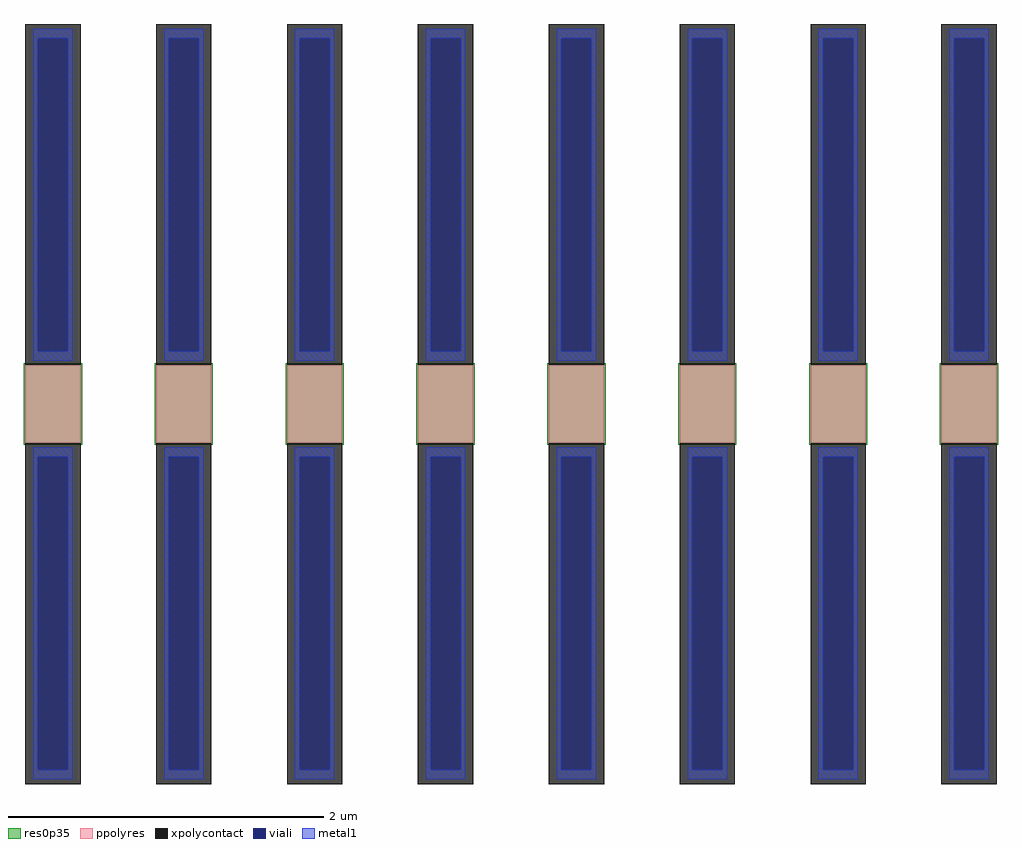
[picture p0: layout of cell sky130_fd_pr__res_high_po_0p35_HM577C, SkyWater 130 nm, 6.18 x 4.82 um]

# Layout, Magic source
magic
tech sky130A
magscale 1 2
<< xpolycontact >>
rect -616 50 -546 482
rect -616 -482 -546 -50
rect -450 50 -380 482
rect -450 -482 -380 -50
rect -284 50 -214 482
rect -284 -482 -214 -50
rect -118 50 -48 482
rect -118 -482 -48 -50
rect 48 50 118 482
rect 48 -482 118 -50
rect 214 50 284 482
rect 214 -482 284 -50
rect 380 50 450 482
rect 380 -482 450 -50
rect 546 50 616 482
rect 546 -482 616 -50
<< ppolyres >>
rect -616 -50 -546 50
rect -450 -50 -380 50
rect -284 -50 -214 50
rect -118 -50 -48 50
rect 48 -50 118 50
rect 214 -50 284 50
rect 380 -50 450 50
rect 546 -50 616 50
<< viali >>
rect -600 67 -562 464
rect -434 67 -396 464
rect -268 67 -230 464
rect -102 67 -64 464
rect 64 67 102 464
rect 230 67 268 464
rect 396 67 434 464
rect 562 67 600 464
rect -600 -464 -562 -67
rect -434 -464 -396 -67
rect -268 -464 -230 -67
rect -102 -464 -64 -67
rect 64 -464 102 -67
rect 230 -464 268 -67
rect 396 -464 434 -67
rect 562 -464 600 -67
<< metal1 >>
rect -606 464 -556 476
rect -606 67 -600 464
rect -562 67 -556 464
rect -606 55 -556 67
rect -440 464 -390 476
rect -440 67 -434 464
rect -396 67 -390 464
rect -440 55 -390 67
rect -274 464 -224 476
rect -274 67 -268 464
rect -230 67 -224 464
rect -274 55 -224 67
rect -108 464 -58 476
rect -108 67 -102 464
rect -64 67 -58 464
rect -108 55 -58 67
rect 58 464 108 476
rect 58 67 64 464
rect 102 67 108 464
rect 58 55 108 67
rect 224 464 274 476
rect 224 67 230 464
rect 268 67 274 464
rect 224 55 274 67
rect 390 464 440 476
rect 390 67 396 464
rect 434 67 440 464
rect 390 55 440 67
rect 556 464 606 476
rect 556 67 562 464
rect 600 67 606 464
rect 556 55 606 67
rect -606 -67 -556 -55
rect -606 -464 -600 -67
rect -562 -464 -556 -67
rect -606 -476 -556 -464
rect -440 -67 -390 -55
rect -440 -464 -434 -67
rect -396 -464 -390 -67
rect -440 -476 -390 -464
rect -274 -67 -224 -55
rect -274 -464 -268 -67
rect -230 -464 -224 -67
rect -274 -476 -224 -464
rect -108 -67 -58 -55
rect -108 -464 -102 -67
rect -64 -464 -58 -67
rect -108 -476 -58 -464
rect 58 -67 108 -55
rect 58 -464 64 -67
rect 102 -464 108 -67
rect 58 -476 108 -464
rect 224 -67 274 -55
rect 224 -464 230 -67
rect 268 -464 274 -67
rect 224 -476 274 -464
rect 390 -67 440 -55
rect 390 -464 396 -67
rect 434 -464 440 -67
rect 390 -476 440 -464
rect 556 -67 606 -55
rect 556 -464 562 -67
rect 600 -464 606 -67
rect 556 -476 606 -464
<< res0p35 >>
rect -618 -52 -544 52
rect -452 -52 -378 52
rect -286 -52 -212 52
rect -120 -52 -46 52
rect 46 -52 120 52
rect 212 -52 286 52
rect 378 -52 452 52
rect 544 -52 618 52
<< properties >>
string gencell sky130_fd_pr__res_high_po_0p35
string library sky130
string parameters w 0.35 l 0.5 m 1 nx 8 wmin 0.350 lmin 0.50 rho 319.8 val 1.57k dummy 0 dw 0.0 term 194.82 sterm 0.0 caplen 0 guard 0 glc 1 grc 1 gtc 1 gbc 1 compatible {sky130_fd_pr__res_high_po_0p35  sky130_fd_pr__res_high_po_0p69 sky130_fd_pr__res_high_po_1p41  sky130_fd_pr__res_high_po_2p85 sky130_fd_pr__res_high_po_5p73} snake 0 full_metal 1 wmax 0.350 vias 1 n_guard 0 hv_guard 0 viagb 0 viagt 0 viagl 0 viagr 0
<< end >>
